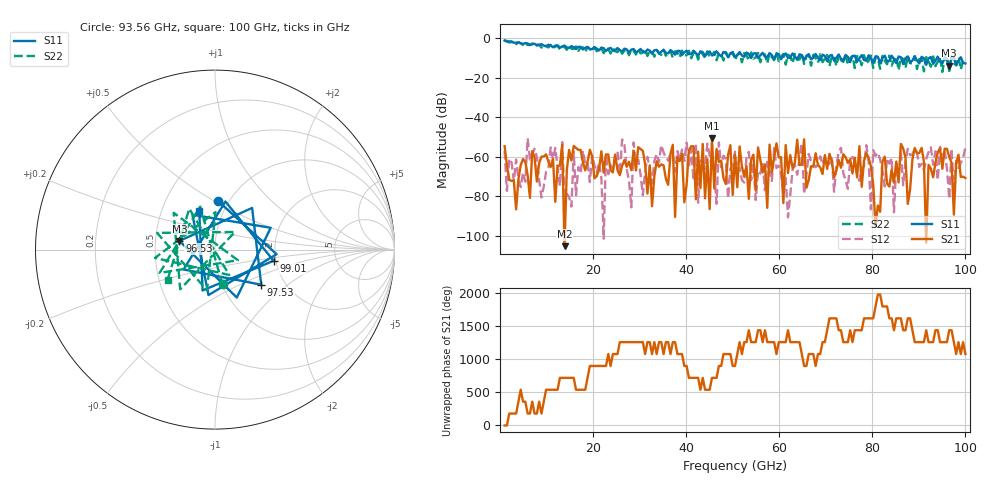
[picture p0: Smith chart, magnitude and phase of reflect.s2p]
!Created with skrf (http://scikit-rf.org).
# GHz S RI R 50.0
!freq ReS11 ImS11 ReS21 ImS21 ReS12 ImS12 ReS22 ImS22
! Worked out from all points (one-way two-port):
!   201 points, 1 GHz to 100 GHz, reference 50 ohm
!   highest |S21| = -50.54 dB at 45.55 GHz (marker M1); lowest = -105.2 dB at 13.87 GHz (marker M2)
!   lowest |S11| = -13.8 dB at 96.53 GHz (marker M3), VSWR 1.51, Z = 33.3 + j3.36 ohm
!   |S11| at or under -10 dB: 73.19 GHz to 73.97 GHz (780.1 MHz wide, 1.06 % of centre); 91 GHz to 92.2 GHz (1.194 GHz wide, 1.3 % of centre); 95.75 GHz to 97.24 GHz (1.486 GHz wide, 1.54 % of centre) (the widest 3 of 28)
!   |S22| runs from -17.0 to -1.3 dB; largest |S21 - S12| = 0.0044
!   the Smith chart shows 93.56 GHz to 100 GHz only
!   S11 on the Smith chart (normalised r, x): 93.56 GHz: 0.89, +0.52; 96.53 GHz: 0.67, +0.07; 97.53 GHz: 1.52, -0.66; 99.01 GHz: 1.94, -0.27; 100 GHz: 0.77, +0.35
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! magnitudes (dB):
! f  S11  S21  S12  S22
! 1 GHz  -1.1  -54.6  -57.0  -1.4
! 3.475 GHz  -2.3  -86.6  -61.4  -3.0
! 8.92 GHz  -2.9  -59.9  -80.6  -4.7
! 11.89 GHz  -3.7  -82.8  -55.5  -4.3
! 13.38 GHz  -4.2  -54.0  -52.5  -4.0
! 13.87 GHz  -3.7  -105.2  -80.8  -4.3
! 17.83 GHz  -5.6  -62.8  -57.0  -4.6
! 34.16 GHz  -7.8  -65.0  -62.7  -7.4
! 41.59 GHz  -6.3  -54.6  -71.9  -7.4
! 42.09 GHz  -7.5  -81.5  -53.2  -6.9
! 43.57 GHz  -7.0  -53.5  -63.4  -8.1
! 45.05 GHz  -6.6  -86.5  -59.2  -9.7
! 45.55 GHz  -8.7  -50.5  -66.1  -8.5
! 46.05 GHz  -8.2  -76.0  -68.4  -6.8
! 50.5 GHz  -9.4  -58.9  -57.4  -10.9
! 67.33 GHz  -9.9  -65.0  -63.4  -8.3
! 83.67 GHz  -11.3  -75.1  -63.5  -8.8
! 93.56 GHz  -11.3  -63.2  -57.2  -14.0
! 96.53 GHz  -13.8  -60.1  -81.3  -16.6
! 97.53 GHz  -9.8  -89.3  -76.5  -12.7
! 99.01 GHz  -9.6  -70.2  -63.0  -15.8
! 100 GHz  -12.7  -70.7  -55.4  -10.1
